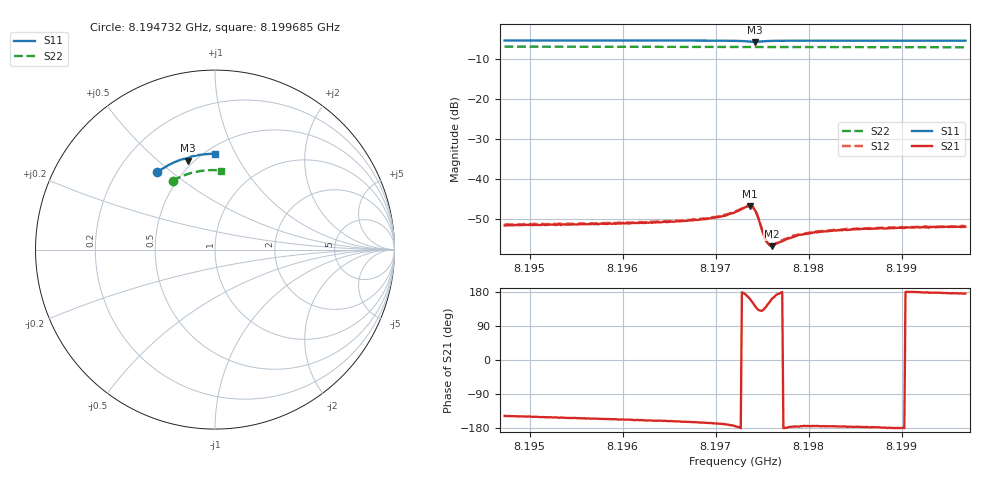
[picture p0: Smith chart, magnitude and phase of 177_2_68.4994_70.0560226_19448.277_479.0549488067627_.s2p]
#  HZ  S  RI  R  50.00
! Rohde & Schwarz Vector Network Analyzer
! Rohde-Schwarz,ZNB20-2Port,1311601062101988,3.16
! Created: UTC 3/20/2024, 5:11:41 PM
! freq[Hz]  re:S11  im:S11  re:S21  im:S21  re:S12  im:S12  re:S22  im:S22
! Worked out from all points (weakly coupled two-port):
!   401 points, 8.194732 GHz to 8.199685 GHz, reference 50 ohm
!   highest |S21| = -46.89 dB at 8.19737 GHz (marker M1); lowest = -56.9 dB at 8.197605 GHz (marker M2)
!   lowest |S11| = -5.7 dB at 8.197419 GHz (marker M3), VSWR 3.14, Z = 23.4 + j31.5 ohm
!   |S11| at or under -10 dB: nowhere
!   |S22| runs from -7.1 to -6.9 dB; largest |S21 - S12| = 0.00022
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8.1947324e9  -0.3241 0.4296  -0.00218 -0.00139  -0.00229 -0.00136  -0.2366 0.3828
8.195562e9  -0.2749 0.4617  -0.00241 -0.00119  -0.00254 -0.00112  -0.1953 0.404
8.1963916e9  -0.2221 0.4883  -0.00265 -0.000969  -0.00277 -0.000888  -0.1517 0.4209
8.196924e9  -0.1854 0.5024  -0.00307 -0.000766  -0.00316 -0.000656  -0.123 0.4294
8.197085e9  -0.173 0.5057  -0.00335 -0.000626  -0.00347 -0.000515  -0.1141 0.4314
8.1972088e9  -0.1621 0.5071  -0.00378 -0.000359  -0.00388 -0.000214  -0.1072 0.4329
8.1973203e9  -0.1511 0.5043  -0.00436 0.000499  -0.00443 0.000709  -0.1011 0.4341
8.1973698e9  -0.148 0.4995  -0.00428 0.00147  -0.0043 0.00167  -0.0982 0.4346
8.1973946e9  -0.1482 0.4966  -0.00392 0.00203  -0.00394 0.00225  -0.097 0.4348
8.1974193e9  -0.1504 0.4946  -0.00329 0.00242  -0.00329 0.00259  -0.0958 0.435
8.1974565e9  -0.1544 0.4955  -0.00222 0.00239  -0.00215 0.00252  -0.0938 0.4354
8.1975184e9  -0.1559 0.5026  -0.00135 0.00141  -0.00128 0.0015  -0.0906 0.4362
8.1975431e9  -0.1547 0.5051  -0.00127 0.00105  -0.00123 0.00112  -0.0891 0.4364
8.1975803e9  -0.1521 0.5082  -0.0013 0.000666  -0.00132 0.00075  -0.0871 0.4368
8.1976051e9  -0.1501 0.51  -0.00135 0.00046  -0.00137 0.000538  -0.0857 0.437
8.1976546e9  -0.146 0.5125  -0.00153 0.000215  -0.00155 0.00026  -0.0829 0.4376
8.1978156e9  -0.1331 0.5176  -0.00182 -0.000125  -0.00189 -4.69e-05  -0.0738 0.4389
8.1979022e9  -0.1264 0.5196  -0.00197 -0.000137  -0.00198 -0.000101  -0.0691 0.4395
8.1980384e9  -0.1164 0.5222  -0.00208 -0.000229  -0.0021 -0.000139  -0.0614 0.4405
8.1984223e9  -0.0887 0.5273  -0.00228 -0.00016  -0.00232 -6.41e-05  -0.0395 0.4422
8.198868e9  -0.057 0.5313  -0.00238 -5.9e-05  -0.00247 6.35e-05  -0.0143 0.443
8.1996853e9  0.00097 0.5337  -0.00249 0.000198  -0.00252 0.000341  0.0322 0.4405
